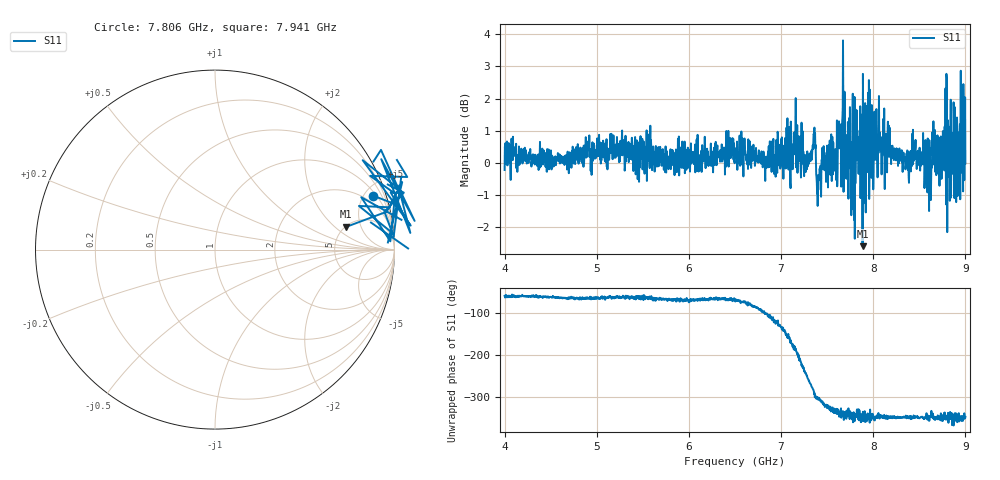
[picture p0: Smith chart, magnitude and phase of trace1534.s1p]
! Created with skrf 1.8.0 (http://scikit-rf.org).
# Hz S RI R 50.0
!freq ReS11 ImS11
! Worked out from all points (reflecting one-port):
!   1601 points, 4 GHz to 9 GHz, reference 50 ohm
!   lowest |S11| = -2.6 dB at 7.884 GHz (marker M1), VSWR 6.77, Z = 255 + j144 ohm
!   phase of S11 starts at -59 deg and turns -288 deg over the sweep
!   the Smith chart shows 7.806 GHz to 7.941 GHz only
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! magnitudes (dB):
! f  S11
! 4 GHz  -0.2
! 4.1 GHz  0.5
! 4.625 GHz  0.0
! 5.25 GHz  0.0
! 5.875 GHz  0.0
! 6.5 GHz  0.2
! 6.825 GHz  -0.2
! 7.125 GHz  -0.2
! 7.269 GHz  0.1
! 7.353 GHz  0.9
! 7.409 GHz  -0.5
! 7.462 GHz  0.5
! 7.588 GHz  0.4
! 7.669 GHz  1.7
! 7.75 GHz  -0.1
! 7.775 GHz  1.4
! 7.834 GHz  0.6
! 7.884 GHz  -2.6
! 8.038 GHz  1.1
! 8.375 GHz  0.1
! 8.45 GHz  0.1
! 8.603 GHz  -0.5
! 8.656 GHz  0.1
! 8.766 GHz  0.7
! 8.775 GHz  1.1
! 8.919 GHz  -0.5
! 8.972 GHz  0.1
! 9 GHz  0.0
